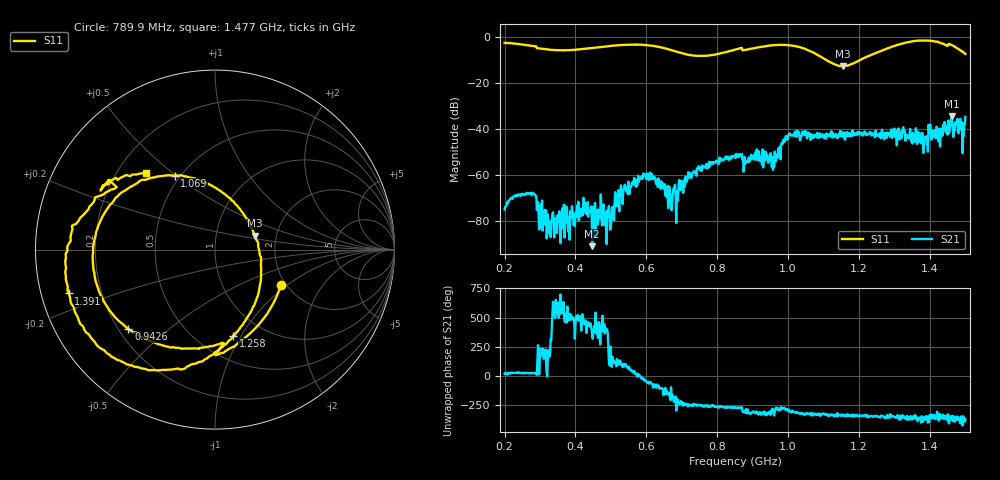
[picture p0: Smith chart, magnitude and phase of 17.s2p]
! NanoVNA-App
! Date: 2024-06-25 16:53:25
! Start: 200MHz Stop: 1.5GHz Points: 801
! S-Parameter data: F S11 S21 S12 S22
# Hz S RI R 50
!  Frequency  S11_Real  S11_Imag  S21_Real  S21_Imag  S12_Real  S12_Imag  S22_Real  S22_Imag
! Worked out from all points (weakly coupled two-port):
!   801 points, 200 MHz to 1.5 GHz, reference 50 ohm
!   highest |S21| = -34.49 dB at 1.461 GHz (marker M1); lowest = -91.1 dB at 447 MHz (marker M2)
!   lowest |S11| = -12.6 dB at 1.155 GHz (marker M3), VSWR 1.61, Z = 77 + j12.7 ohm
!   |S11| at or under -10 dB: 1.109 GHz to 1.201 GHz (92.49 MHz wide, 8.01 % of centre)
!   S12 and S22 are empty: the file has one direction only
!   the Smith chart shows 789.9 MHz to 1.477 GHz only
!   S11 on the Smith chart (normalised r, x): 789.9 MHz: 1.89, -0.89; 942.6 MHz: 0.24, -0.37; 1.069 GHz: 0.47, +0.49; 1.258 GHz: 0.73, -0.93; 1.391 GHz: 0.08, -0.15; 1.477 GHz: 0.32, +0.40
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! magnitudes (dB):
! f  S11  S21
! 200 MHz  -2.4  -75.1
! 274.8 MHz  -3.7  -68.3
! 325.1 MHz  -5.4  -81.4
! 417.8 MHz  -5.1  -74.7
! 447 MHz  -4.7  -91.1
! 502.2 MHz  -3.7  -79.4
! 591.6 MHz  -3.3  -59.4
! 633.9 MHz  -4.1  -61.6
! 668 MHz  -5.4  -69.1
! 789.9 MHz  -7.6  -54.4
! 850 MHz  -5.4  -51.6
! 942.6 MHz  -3.7  -54.6
! 999.5 MHz  -3.4  -43.6
! 1.068 GHz  -6.4  -43.0
! 1.069 GHz  -6.6  -42.9
! 1.155 GHz  -12.6  -41.4
! 1.258 GHz  -6.2  -43.4
! 1.284 GHz  -4.6  -42.5
! 1.391 GHz  -1.4  -46.8
! 1.461 GHz  -3.3  -34.5
! 1.477 GHz  -4.8  -35.6
! 1.5 GHz  -7.2  -34.7
